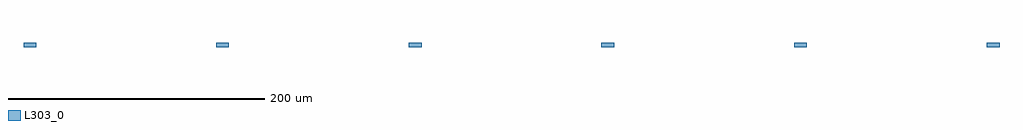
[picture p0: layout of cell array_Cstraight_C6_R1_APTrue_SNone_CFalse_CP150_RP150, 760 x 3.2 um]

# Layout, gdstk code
import gdstk
lib = gdstk.Library(unit=1e-6, precision=1e-09)
def R(c, l, rs):  # rectangles x0, y0, x1, y1
    for r in rs: c.add(gdstk.rectangle(r[:2], r[2:], *l))
L303_0 = (303, 0)

straight_l10_csxs_rib = lib.new_cell('straight_L10_CSxs_rib')
R(straight_l10_csxs_rib, L303_0, [(0,-1.6,10,1.6)])

array_cstraight_c6_r1_ap = lib.new_cell('array_Cstraight_C6_R1_APTrue_SNone_CFalse_CP150_RP150')
r = gdstk.Reference(straight_l10_csxs_rib, (0,0)); r.repetition = gdstk.Repetition(6, 1, v1=(150,0), v2=(0,0)); array_cstraight_c6_r1_ap.add(r)

lib.write_gds('array_Cstraight_C6_R1_APTrue_SNone_CFalse_CP150_RP150.gds')
